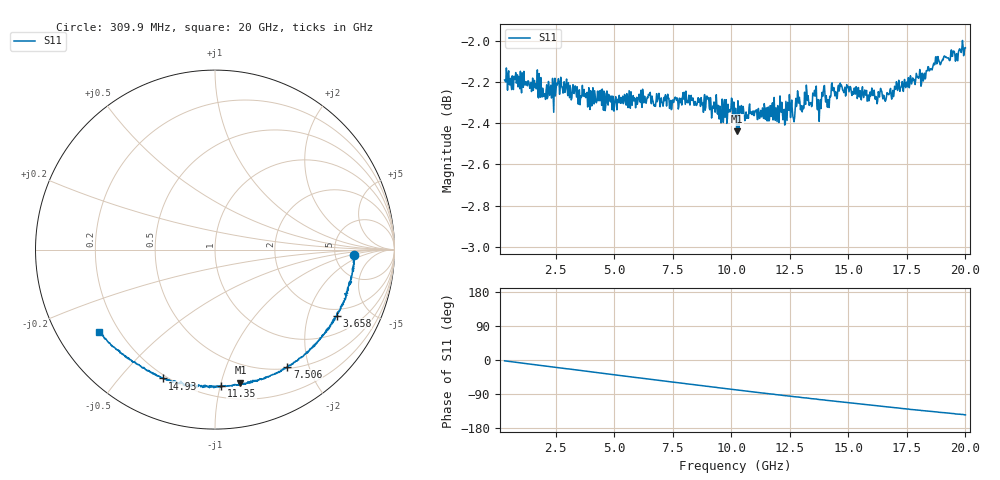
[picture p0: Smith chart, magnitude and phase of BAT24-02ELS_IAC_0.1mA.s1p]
! Infineon Technologies  Discrete & RF Semiconductors
! BAT24-02ELS
! IAC = 0.1 mA
! One-Port S-Parameters
# Hz  S  MA  R  50
!f  S11
!Hz  Mag  Ang
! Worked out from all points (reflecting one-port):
!   789 points, 309.9 MHz to 20 GHz, reference 50 ohm
!   lowest |S11| = -2.4 dB at 10.23 GHz (marker M1), VSWR 7.17, Z = 16.7 - j57.6 ohm
!   phase of S11 starts at -2 deg and turns -143 deg over the sweep
!   S11 on the Smith chart (normalised r, x): 309.9 MHz: 7.79, -1.18; 3.658 GHz: 1.70, -3.07; 7.506 GHz: 0.52, -1.67; 11.35 GHz: 0.28, -1.01; 14.93 GHz: 0.18, -0.66; 20 GHz: 0.13, -0.31
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3.0985e8  0.7772 -2.2
1.634188e9  0.7755 -12.7
2.783612e9  0.7734 -21.7
3.658175e9  0.7705 -28.5
4.432788e9  0.7728 -34.6
5.232388e9  0.7685 -40.8
6.456775e9  0.771 -50.2
7.50625e9  0.7685 -58.4
7.70615e9  0.7684 -59.9
8.930538e9  0.77 -69.2
1.015492e10  0.7607 -78.5
1.022989e10  0.7552 -79.2
1.135432e10  0.7614 -87.3
1.24038e10  0.7675 -94.7
1.262869e10  0.7614 -96.5
1.282859e10  0.7725 -97.5
1.302849e10  0.7634 -99.2
1.355322e10  0.7727 -102.6
1.375312e10  0.7593 -104.5
1.392804e10  0.7723 -105.2
1.410295e10  0.7654 -106.7
1.432784e10  0.7727 -108.0
1.492754e10  0.7752 -112.1
1.507746e10  0.7743 -113.0
1.635182e10  0.7721 -121.6
1.755122e10  0.7781 -129.3
1.892554e10  0.7838 -138.2
2e10  0.7913 -144.7
